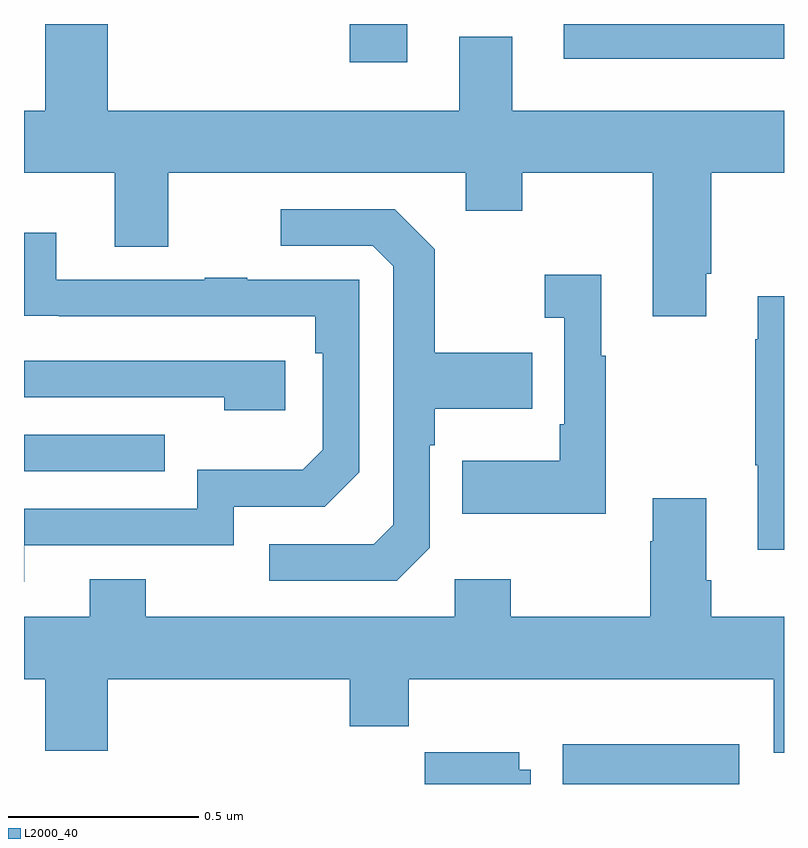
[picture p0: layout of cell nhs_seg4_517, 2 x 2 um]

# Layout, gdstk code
import gdstk
lib = gdstk.Library(unit=1e-6, precision=1e-09)
def R(c, l, rs):  # rectangles x0, y0, x1, y1
    for r in rs: c.add(gdstk.rectangle(r[:2], r[2:], *l))
def P(c, l, *ps):  # polygons
    for p in ps: c.add(gdstk.Polygon(p, *l))
L2000_40 = (2000, 40)

nhs_seg4_517 = lib.new_cell('nhs_seg4_517')
R(nhs_seg4_517, L2000_40, [(118.418,773.9,118.882,774.004), (117,774.723,117.371,774.819), (117.857,775.8,118.009,775.9), (118.421,775.808,119,775.9)])
P(nhs_seg4_517, L2000_40, [(118.795,775.243),(118.808,775.243),(118.808,775.508),(119,775.508),(119,775.672),(118.285,775.672),(118.285,775.867),(118.145,775.867),(118.145,775.672),(117.22,775.672),(117.22,775.9),(117.056,775.9),(117.056,775.672),(117,775.672),(117,775.508),(117.239,775.508),(117.239,775.314),(117.379,775.314),(117.379,775.508),(118.163,775.508),(118.163,775.409),(118.311,775.409),(118.311,775.508),(118.655,775.508),(118.655,775.131),(118.795,775.131)],
  [(118.068,774.522),(118.068,774.791),(118.081,774.791),(118.081,774.887),(118.337,774.887),(118.337,775.035),(118.081,775.035),(118.081,775.307),(117.975,775.413),(117.675,775.413),(117.675,775.317),(117.918,775.317),(117.972,775.263),(117.972,774.582),(117.921,774.531),(117.645,774.531),(117.645,774.435),(117.981,774.435)],
  [(117.001,774.528),(117.552,774.528),(117.552,774.63),(117.792,774.63),(117.882,774.72),(117.882,775.227),(117.587,775.227),(117.587,775.232),(117.475,775.232),(117.475,775.227),(117.085,775.227),(117.085,775.351),(117,775.351),(117,775.132),(117.091,775.132),(117.091,775.131),(117.766,775.131),(117.766,775.034),(117.786,775.034),(117.786,774.78),(117.733,774.727),(117.456,774.727),(117.456,774.624),(117,774.624),(117,774.432),(117.001,774.432)],
  [(118.531,775.027),(118.519,775.027),(118.519,775.24),(118.371,775.24),(118.371,775.127),(118.422,775.127),(118.422,774.847),(118.41,774.847),(118.41,774.751),(118.153,774.751),(118.153,774.611),(118.531,774.611)],
  [(119,775.183),(118.931,775.183),(118.931,775.07),(118.924,775.07),(118.924,774.739),(118.931,774.739),(118.931,774.516),(119,774.516)],
  [(117.688,775.014),(117,775.014),(117,774.918),(117.527,774.918),(117.527,774.884),(117.688,774.884)],
  [(119,774.34),(118.808,774.34),(118.808,774.436),(118.795,774.436),(118.795,774.652),(118.655,774.652),(118.655,774.539),(118.648,774.539),(118.648,774.34),(118.281,774.34),(118.281,774.439),(118.134,774.439),(118.134,774.34),(117.321,774.34),(117.321,774.439),(117.173,774.439),(117.173,774.34),(117,774.34),(117,774.176),(117.056,774.176),(117.056,773.988),(117.22,773.988),(117.22,774.176),(117.857,774.176),(117.857,774.052),(118.013,774.052),(118.013,774.176),(118.973,774.176),(118.973,773.982),(119,773.982)],
  [(118.333,773.938),(118.303,773.938),(118.303,773.983),(118.054,773.983),(118.054,773.9),(118.333,773.9)])

lib.write_gds('nhs_seg4_517.gds')
